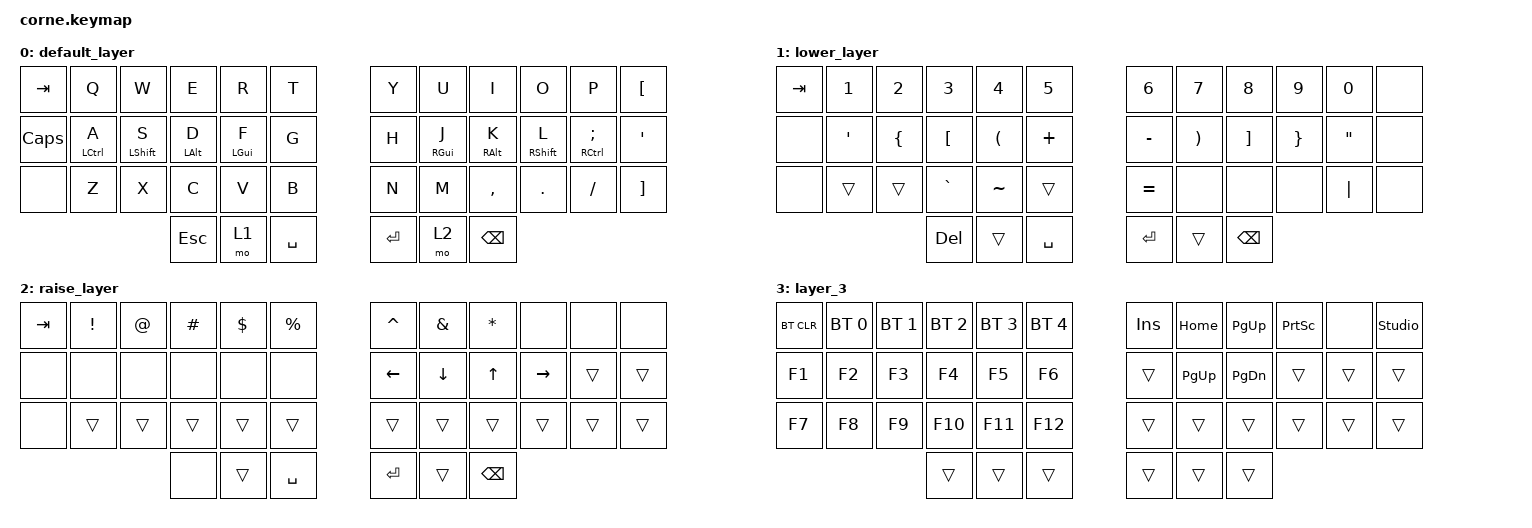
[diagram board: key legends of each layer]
/*
 * Copyright (c) 2020 The ZMK Contributors
 *
 * SPDX-License-Identifier: MIT
 */

#include <behaviors.dtsi>
#include <dt-bindings/zmk/bt.h>
#include <dt-bindings/zmk/keys.h>

&mt {
    tapping-term-ms = <500>;
};

/ {
    keymap {
        compatible = "zmk,keymap";

        default_layer {
            // -----------------------------------------------------------------------------------------
            // |  TAB |  Q  |  W  |  E  |  R  |  T  |   |  Y  |  U   |  I  |  O  |  P  | BSPC |
            // | CTRL |  A  |  S  |  D  |  F  |  G  |   |  H  |  J   |  K  |  L  |  ;  |  '   |
            // | SHFT |  Z  |  X  |  C  |  V  |  B  |   |  N  |  M   |  ,  |  .  |  /  | ESC  |
            //                    | GUI | LWR | SPC |   | ENT | RSE  | ALT |

            bindings = <
&kp TAB   &kp Q        &kp W             &kp E           &kp R           &kp T        &kp Y      &kp U            &kp I            &kp O              &kp P                   &kp LEFT_BRACKET
&kp CAPS  &mt LCTRL A  &mt LEFT_SHIFT S  &mt LEFT_ALT D  &mt LEFT_GUI F  &kp G        &kp H      &mt RIGHT_GUI J  &mt RIGHT_ALT K  &mt RIGHT_SHIFT L  &mt RIGHT_CONTROL SEMI  &kp SQT
&none     &kp Z        &kp X             &kp C           &kp V           &kp B        &kp N      &kp M            &kp COMMA        &kp DOT            &kp FSLH                &kp RIGHT_BRACKET
                                         &kp ESCAPE      &mo 1           &kp SPACE    &kp ENTER  &mo 2            &kp BACKSPACE
            >;
        };

        lower_layer {
            // -----------------------------------------------------------------------------------------
            // |  TAB |  1  |  2  |  3  |  4  |  5  |   |  6  |  7  |  8  |  9  |  0  | BSPC |
            // | BTCLR| BT1 | BT2 | BT3 | BT4 | BT5 |   | LFT | DWN |  UP | RGT |     |      |
            // | SHFT |     |     |     |     |     |   |     |     |     |     |     |      |
            //                    | GUI |     | SPC |   | ENT |     | ALT |

            bindings = <
&kp TAB  &kp N1   &kp N2          &kp N3            &kp N4                &kp N5       &kp N6     &kp N7                 &kp N8             &kp N9           &kp N0             &none
&none    &kp SQT  &kp LEFT_BRACE  &kp LEFT_BRACKET  &kp LEFT_PARENTHESIS  &kp PLUS     &kp MINUS  &kp RIGHT_PARENTHESIS  &kp RIGHT_BRACKET  &kp RIGHT_BRACE  &kp DOUBLE_QUOTES  &none
&none    &trans   &trans          &kp GRAVE         &kp TILDE             &trans       &kp EQUAL  &none                  &none              &none            &kp PIPE           &none
                                  &kp DELETE        &trans                &kp SPACE    &kp RET    &trans                 &kp BACKSPACE
            >;
        };

        raise_layer {
            // -----------------------------------------------------------------------------------------
            // |  TAB |  !  |  @  |  #  |  $  |  %  |   |  ^  |  &  |  *  |  (  |  )  | BSPC |
            // | CTRL |     |     |     |     |     |   |  -  |  =  |  [  |  ]  |  \  |  `   |
            // | SHFT |     |     |     |     |     |   |  _  |  +  |  {  |  }  | "|" |  ~   |
            //                    | GUI |     | SPC |   | ENT |     | ALT |

            bindings = <
&kp TAB  &kp EXCL  &kp AT  &kp HASH  &kp DLLR  &kp PRCNT    &kp CARET  &kp AMPS  &kp ASTRK      &none      &none   &none
&none    &none     &none   &none     &none     &none        &kp LEFT   &kp DOWN  &kp UP         &kp RIGHT  &trans  &trans
&none    &trans    &trans  &trans    &trans    &trans       &trans     &trans    &trans         &trans     &trans  &trans
                           &none     &trans    &kp SPACE    &kp ENTER  &trans    &kp BACKSPACE
            >;
        };

        layer_3 {
            bindings = <
&bt BT_CLR  &bt BT_SEL 0  &bt BT_SEL 1  &bt BT_SEL 2  &bt BT_SEL 3  &bt BT_SEL 4    &kp INSERT  &kp HOME     &kp PG_UP      &kp PRINTSCREEN  &none   &studio_unlock
&kp F1      &kp F2        &kp F3        &kp F4        &kp F5        &kp F6          &trans      &kp PAGE_UP  &kp PAGE_DOWN  &trans           &trans  &trans
&kp F7      &kp F8        &kp F9        &kp F10       &kp F11       &kp F12         &trans      &trans       &trans         &trans           &trans  &trans
                                        &trans        &trans        &trans          &trans      &trans       &trans
            >;
        };
    };

    conditional_layers {
        compatible = "zmk,conditional-layers";

        l3 {
            if-layers = <1 2>;
            then-layer = <3>;
        };
    };
};
